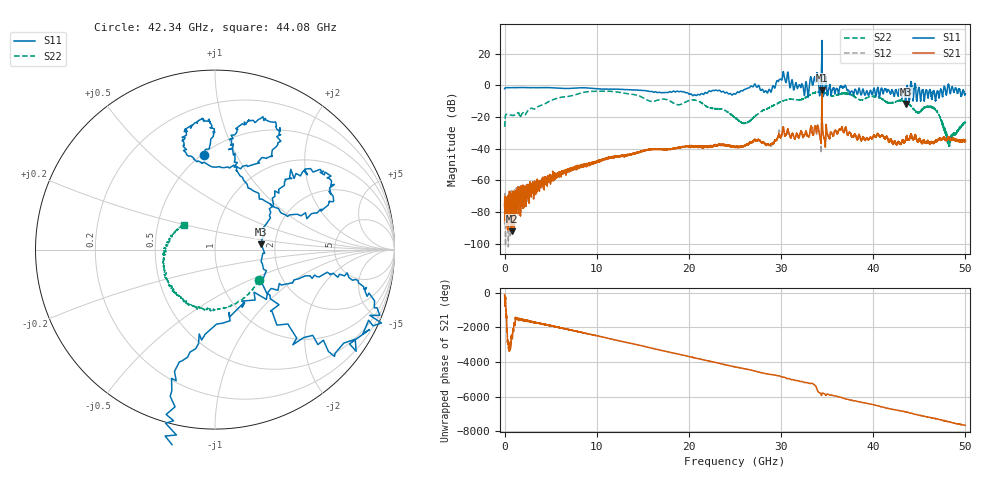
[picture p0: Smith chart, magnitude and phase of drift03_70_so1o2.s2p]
!Created with skrf (http://scikit-rf.org).
# Hz S RI R 50.0
!freq ReS11 ImS11 ReS21 ImS21 ReS12 ImS12 ReS22 ImS22
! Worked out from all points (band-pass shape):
!   10000 points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, 5.3 MHz to 50 GHz, reference 50 ohm
!   highest |S21| = -3.09 dB at 34.43 GHz (marker M1); lowest = -92.0 dB at 770.3 MHz (marker M2)
!   |S21| within 3 dB of the highest: 34.42731 GHz to 34.43447 GHz (7.161 MHz wide, 0.0208 % of centre)
!   lowest |S11| = -11.7 dB at 43.52 GHz (marker M3), VSWR 1.70, Z = 84.6 + j5.22 ohm
!   |S11| at or under -10 dB: 43.48666 GHz to 43.55079 GHz (64.13 MHz wide, 0.147 % of centre); 45.1393 GHz to 45.14055 GHz (1.248 MHz wide, 0.00276 % of centre); 45.53501 GHz to 45.53504 GHz (27.25 kHz wide, 5.98e-05 % of centre)
!   |S22| runs from -38.4 to -3.6 dB; largest |S21 - S12| = 0.22
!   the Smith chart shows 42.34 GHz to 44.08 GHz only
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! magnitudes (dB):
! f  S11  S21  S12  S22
! 5.3 MHz  -2.1  -76.4  -74.2  -26.1
! 770.3 MHz  -1.4  -92.0  -72.0  -18.9
! 2.935 GHz  -1.4  -65.7  -63.7  -14.4
! 8.34 GHz  -1.5  -50.5  -50.9  -4.7
! 16.67 GHz  -4.4  -40.1  -40.1  -9.2
! 20.72 GHz  -6.2  -38.6  -38.9  -9.3
! 25.01 GHz  -5.5  -39.0  -38.8  -20.4
! 26.21 GHz  -2.3  -37.2  -37.6  -23.7
! 27.37 GHz  -1.1  -35.0  -35.0  -18.6
! 28.72 GHz  -2.5  -37.7  -37.5  -14.1
! 30.14 GHz  4.4  -29.3  -29.9  -9.9
! 32.74 GHz  2.0  -29.5  -29.2  -7.4
! 33.34 GHz  2.7  -27.5  -27.8  -5.2
! 33.82 GHz  4.0  -29.2  -29.5  -4.3
! 34.43 GHz  28.4  -3.1  -5.0  -4.0
! 36.48 GHz  -0.5  -28.1  -28.1  -5.3
! 41.67 GHz  -2.8  -35.8  -35.5  -10.8
! 43.52 GHz  -11.7  -34.2  -34.7  -10.4
! 44.79 GHz  -6.4  -35.5  -35.3  -17.0
! 46.69 GHz  -6.9  -35.4  -35.6  -15.1
! 48.21 GHz  -0.1  -32.3  -33.2  -36.6
! 50 GHz  -5.2  -34.8  -34.8  -23.4
